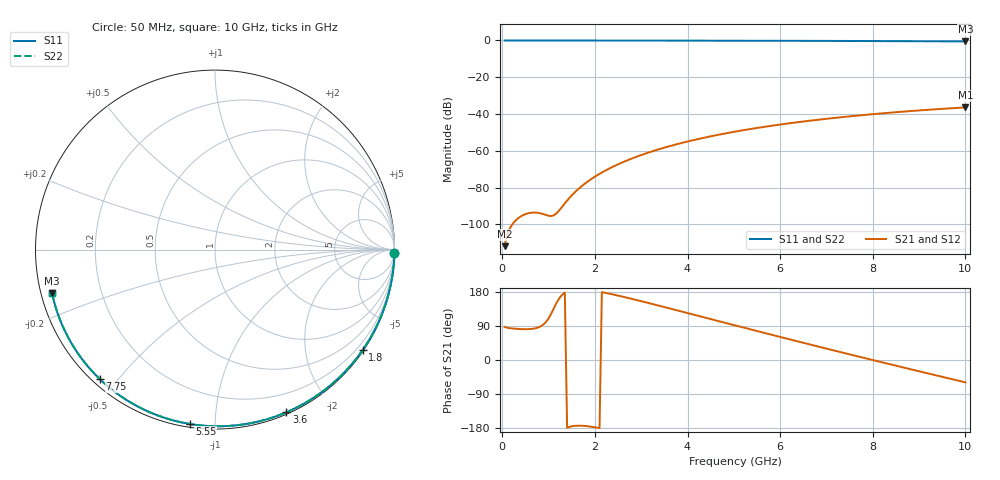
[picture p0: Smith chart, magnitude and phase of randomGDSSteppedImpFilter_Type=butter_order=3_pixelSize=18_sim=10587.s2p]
! freq	dB(S11)	phase(S11)	dB(S12)	phase(S12)
!  dB(S21)	phase(S21)	dB(S22)	phase(S22)
!S-par simulation data
#  GHz  S  DB  R 50
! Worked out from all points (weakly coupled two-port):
!   200 points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, 50 MHz to 10 GHz, reference 50 ohm
!   highest |S21| = -36.40 dB at 10 GHz (marker M1); lowest = -111.8 dB at 50 MHz (marker M2)
!   lowest |S11| = -0.5 dB at 10 GHz (marker M3), VSWR 32.20, Z = 1.58 - j6.57 ohm
!   |S11| at or under -10 dB: nowhere
!   |S22| runs from -0.5 to 0.0 dB; largest |S21 - S12| = 0
!   S11 on the Smith chart (normalised r, x): 50 MHz: open; 1.8 GHz: 0.03, -3.26; 3.6 GHz: 0.02, -1.53; 5.55 GHz: 0.02, -0.86; 7.75 GHz: 0.02, -0.45; 10 GHz: 0.03, -0.13
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0.05  -0.00 -1.0  -111.85 87.3  -111.85 87.3  -0.00 -1.0
0.45  -0.01 -8.7  -94.96 81.4  -94.96 81.4  -0.01 -8.7
0.85  -0.02 -16.3  -94.14 90.4  -94.14 90.4  -0.02 -16.3
1.65  -0.04 -31.4  -80.59 -173.3  -80.59 -173.3  -0.04 -31.4
1.7  -0.04 -32.3  -79.51 -173.4  -79.51 -173.4  -0.04 -32.3
1.75  -0.04 -33.2  -78.49 -173.7  -78.49 -173.7  -0.04 -33.2
1.8  -0.04 -34.1  -77.52 -174.3  -77.52 -174.3  -0.04 -34.1
2.1  -0.05 -39.7  -72.51 -179.7  -72.51 -179.7  -0.05 -39.7
2.3  -0.06 -43.3  -69.76 175.4  -69.76 175.4  -0.06 -43.3
2.5  -0.06 -46.9  -67.33 169.9  -67.33 169.9  -0.06 -46.9
2.9  -0.07 -54.1  -63.20 158.2  -63.20 158.2  -0.07 -54.1
3.4  -0.08 -62.9  -59.01 142.8  -59.01 142.8  -0.08 -62.9
3.6  -0.09 -66.3  -57.55 136.5  -57.55 136.5  -0.09 -66.3
4.3  -0.11 -78.1  -53.20 114.4  -53.20 114.4  -0.11 -78.1
5.05  -0.14 -90.4  -49.47 90.6  -49.47 90.6  -0.14 -90.4
5.55  -0.16 -98.3  -47.38 74.9  -47.38 74.9  -0.16 -98.3
6.1  -0.19 -106.8  -45.37 57.7  -45.37 57.7  -0.19 -106.8
6.7  -0.23 -116.0  -43.45 39.2  -43.45 39.2  -0.23 -116.0
7.75  -0.30 -131.6  -40.66 7.3  -40.66 7.3  -0.30 -131.6
8.35  -0.36 -140.4  -39.32 -10.6  -39.32 -10.6  -0.36 -140.4
9.2  -0.44 -153.0  -37.69 -35.6  -37.69 -35.6  -0.44 -153.0
10  -0.54 -165.0  -36.40 -59.0  -36.40 -59.0  -0.54 -165.0
